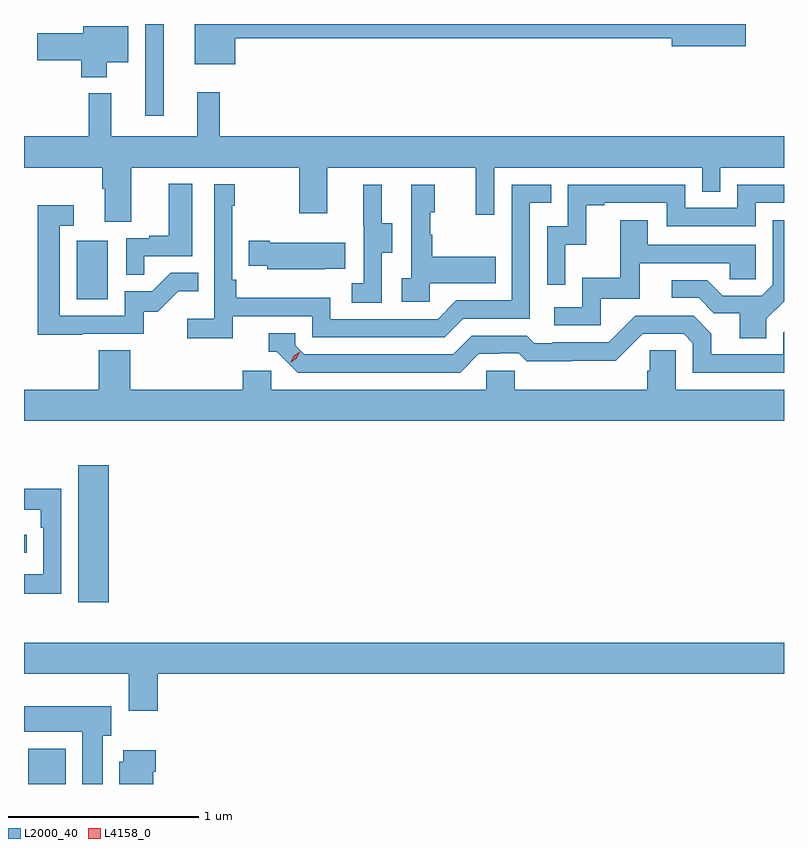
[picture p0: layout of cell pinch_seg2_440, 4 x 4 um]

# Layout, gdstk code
import gdstk
lib = gdstk.Library(unit=1e-6, precision=1e-09)
def R(c, l, rs):  # rectangles x0, y0, x1, y1
    for r in rs: c.add(gdstk.rectangle(r[:2], r[2:], *l))
def P(c, l, *ps):  # polygons
    for p in ps: c.add(gdstk.Polygon(p, *l))
L2000_40 = (2000, 40)
L4158_0 = (4158, 0)

pinch_seg2_440 = lib.new_cell('pinch_seg2_440')
R(pinch_seg2_440, L2000_40, [(912.539,613.756,912.736,613.942), (912.803,614.712,912.964,615.433), (912.517,614.973,912.532,615.069), (912.794,616.308,912.958,616.615), (913.155,617.274,913.252,617.756)])
P(pinch_seg2_440, L2000_40, [(913.63,617.68),(915.926,617.68),(915.926,617.638),(916.315,617.638),(916.315,617.756),(913.415,617.756),(913.415,617.543),(913.63,617.543)],
  [(912.952,617.555),(913.066,617.555),(913.066,617.743),(912.83,617.743),(912.83,617.708),(912.588,617.708),(912.588,617.566),(912.818,617.566),(912.818,617.477),(912.952,617.477)],
  [(913.081,617),(913.966,617),(913.966,616.761),(914.113,616.761),(914.113,617),(914.894,617),(914.894,616.752),(914.991,616.752),(914.991,617),(916.086,617),(916.086,616.873),(916.182,616.873),(916.182,617),(916.517,617),(916.517,617.164),(913.547,617.164),(913.547,617.398),(913.43,617.398),(913.43,617.164),(912.977,617.164),(912.977,617.392),(912.859,617.392),(912.859,617.164),(912.517,617.164),(912.517,617),(912.929,617),(912.929,616.888),(912.941,616.888),(912.941,616.714),(913.081,616.714)],
  [(913.151,616.533),(913.402,616.533),(913.402,616.915),(913.28,616.915),(913.28,616.642),(913.177,616.642),(913.177,616.629),(913.056,616.629),(913.056,616.435),(913.151,616.435)],
  [(913.616,616.218),(914.034,616.218),(914.034,616.107),(914.731,616.107),(914.83,616.206),(915.18,616.206),(915.18,616.815),(915.293,616.815),(915.293,616.911),(915.084,616.911),(915.084,616.302),(914.793,616.302),(914.694,616.203),(914.13,616.203),(914.13,616.315),(913.634,616.315),(913.634,616.411),(913.614,616.411),(913.614,616.799),(913.627,616.799),(913.627,616.912),(913.518,616.912),(913.518,616.204),(913.377,616.204),(913.377,616.102),(913.616,616.102)],
  [(915.366,616.595),(915.476,616.595),(915.476,616.803),(915.571,616.803),(915.571,616.815),(915.9,616.815),(915.9,616.692),(916.368,616.692),(916.368,616.815),(916.517,616.815),(916.517,616.911),(916.272,616.911),(916.272,616.788),(915.996,616.788),(915.996,616.911),(915.378,616.911),(915.378,616.692),(915.27,616.692),(915.27,616.383),(915.366,616.383)],
  [(914.4,616.552),(914.455,616.552),(914.455,616.707),(914.401,616.707),(914.401,616.909),(914.303,616.909),(914.303,616.695),(914.304,616.695),(914.304,616.391),(914.241,616.391),(914.241,616.288),(914.4,616.288)],
  [(914.652,616.391),(914.999,616.391),(914.999,616.531),(914.665,616.531),(914.665,616.646),(914.655,616.646),(914.655,616.764),(914.68,616.764),(914.68,616.909),(914.556,616.909),(914.556,616.418),(914.505,616.418),(914.505,616.293),(914.652,616.293)],
  [(912.827,616.125),(913.146,616.125),(913.146,616.242),(913.222,616.242),(913.329,616.349),(913.433,616.349),(913.433,616.448),(913.29,616.448),(913.192,616.35),(913.047,616.35),(913.047,616.221),(912.705,616.221),(912.705,616.695),(912.778,616.695),(912.778,616.801),(912.589,616.801),(912.589,616.12),(912.827,616.12)],
  [(916.423,616.204),(916.517,616.298),(916.517,616.723),(916.458,616.723),(916.458,616.383),(916.401,616.326),(916.195,616.326),(916.114,616.407),(915.927,616.407),(915.927,616.314),(916.068,616.314),(916.148,616.234),(916.283,616.234),(916.283,616.102),(916.423,616.102)],
  [(915.552,616.311),(915.757,616.311),(915.757,616.497),(916.231,616.497),(916.231,616.413),(916.368,616.413),(916.368,616.593),(915.799,616.593),(915.799,616.723),(915.655,616.723),(915.655,616.42),(915.456,616.42),(915.456,616.266),(915.309,616.266),(915.309,616.17),(915.552,616.17)],
  [(914.099,616.469),(914.207,616.469),(914.207,616.606),(913.81,616.606),(913.81,616.614),(913.699,616.614),(913.699,616.484),(913.797,616.484),(913.797,616.466),(914.099,616.466)],
  [(914.911,616.02),(915.018,616.02),(915.018,616.023),(915.121,616.023),(915.163,615.981),(915.396,615.981),(915.396,615.983),(915.632,615.983),(915.774,616.125),(915.99,616.125),(916.038,616.077),(916.038,615.921),(916.517,615.921),(916.517,616.136),(916.512,616.131),(916.512,616.017),(916.135,616.017),(916.135,616.127),(916.041,616.221),(915.735,616.221),(915.594,616.08),(915.301,616.08),(915.301,616.077),(915.202,616.077),(915.163,616.116),(914.874,616.116),(914.775,616.017),(913.992,616.017),(913.944,616.065),(913.944,616.128),(913.805,616.128),(913.805,616.032),(913.848,616.032),(913.959,615.921),(914.812,615.921)],
  [(916.517,615.832),(915.948,615.832),(915.948,616.04),(915.811,616.04),(915.811,615.93),(915.797,615.93),(915.797,615.832),(915.099,615.832),(915.099,615.93),(914.949,615.93),(914.949,615.832),(913.818,615.832),(913.818,615.93),(913.667,615.93),(913.667,615.832),(913.076,615.832),(913.076,616.04),(912.911,616.04),(912.911,615.832),(912.517,615.832),(912.517,615.668),(916.517,615.668)],
  [(912.714,615.31),(912.517,615.31),(912.517,615.2),(912.605,615.2),(912.605,615.104),(912.618,615.104),(912.618,614.859),(912.517,614.859),(912.517,614.758),(912.714,614.758)],
  [(913.22,614.336),(916.517,614.336),(916.517,614.5),(912.517,614.5),(912.517,614.336),(913.067,614.336),(913.067,614.142),(913.22,614.142)],
  [(912.931,614.01),(912.976,614.01),(912.976,614.164),(912.517,614.164),(912.517,614.03),(912.824,614.03),(912.824,613.756),(912.931,613.756)],
  [(913.198,613.82),(913.211,613.82),(913.211,613.933),(913.04,613.933),(913.04,613.872),(913.019,613.872),(913.019,613.756),(913.198,613.756)])
P(pinch_seg2_440, L4158_0, [(913.922,615.977),(913.922,615.978),(913.938,616.011),(913.968,616.031),(913.968,616.031),(913.968,616.03),(913.953,615.998),(913.923,615.977)])

lib.write_gds('pinch_seg2_440.gds')
